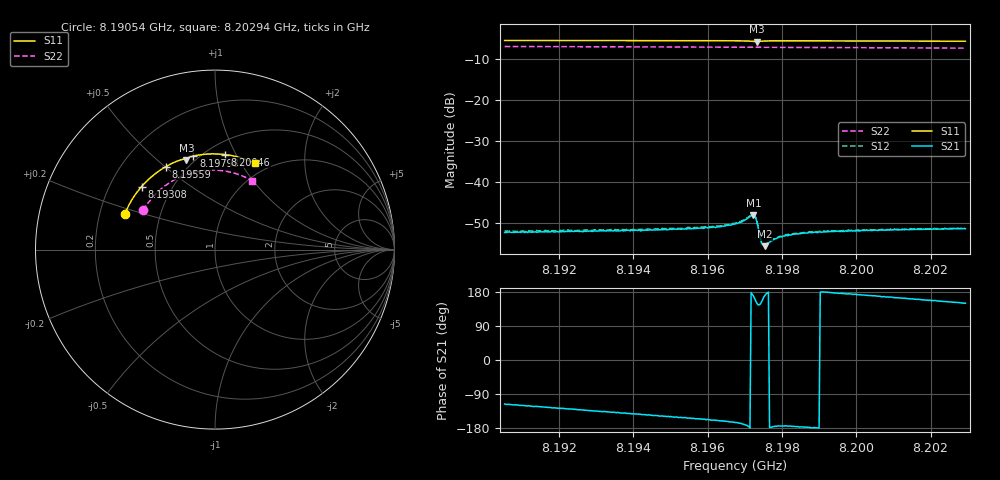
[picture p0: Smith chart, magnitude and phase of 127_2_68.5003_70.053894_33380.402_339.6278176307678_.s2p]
#  HZ  S  RI  R  50.00
! Rohde & Schwarz Vector Network Analyzer
! Rohde-Schwarz,ZNB20-2Port,1311601062101988,3.16
! Created: UTC 3/20/2024, 5:09:21 PM
! freq[Hz]  re:S11  im:S11  re:S21  im:S21  re:S12  im:S12  re:S22  im:S22
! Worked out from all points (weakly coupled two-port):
!   401 points, 8.19054 GHz to 8.20294 GHz, reference 50 ohm
!   highest |S21| = -48.08 dB at 8.19723 GHz (marker M1); lowest = -55.7 dB at 8.19754 GHz (marker M2)
!   lowest |S11| = -5.6 dB at 8.19733 GHz (marker M3), VSWR 3.18, Z = 22.8 + j31.2 ohm
!   |S11| at or under -10 dB: nowhere
!   |S22| runs from -7.2 to -6.8 dB; largest |S21 - S12| = 0.00021
!   S11 on the Smith chart (normalised r, x): 8.19054 GHz: 0.31, +0.17; 8.19308 GHz: 0.34, +0.33; 8.19559 GHz: 0.39, +0.50; 8.19798 GHz: 0.47, +0.68; 8.20046 GHz: 0.61, +0.90; 8.20294 GHz: 0.86, +1.15
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8.190538e9  -0.5024 0.1996  -0.00106 -0.00217  -0.00118 -0.00222  -0.4001 0.2182
8.192615e9  -0.4299 0.3258  -0.00165 -0.00186  -0.00178 -0.00185  -0.3304 0.3103
8.19308e9  -0.4091 0.3511  -0.00179 -0.00177  -0.00189 -0.00176  -0.3116 0.3281
8.194691e9  -0.326 0.4281  -0.00221 -0.0014  -0.0023 -0.00135  -0.2392 0.3815
8.19559e9  -0.2728 0.4629  -0.00243 -0.00119  -0.00248 -0.00111  -0.1944 0.4047
8.196272e9  -0.2295 0.4849  -0.00264 -0.00098  -0.00273 -0.000907  -0.1587 0.4188
8.196737e9  -0.1981 0.4977  -0.00296 -0.000802  -0.00304 -0.000691  -0.1338 0.4265
8.196923e9  -0.1842 0.5018  -0.00318 -0.000667  -0.00331 -0.000571  -0.1234 0.4293
8.197171e9  -0.1638 0.5031  -0.00386 0.000127  -0.00392 0.000309  -0.11 0.4325
8.197233e9  -0.1596 0.5007  -0.00387 0.000774  -0.00391 0.000974  -0.1066 0.4331
8.197295e9  -0.1586 0.4974  -0.00332 0.00148  -0.00328 0.00169  -0.1032 0.4338
8.197326e9  -0.1597 0.4971  -0.00281 0.00164  -0.00279 0.00183  -0.1015 0.4341
8.19745e9  -0.1588 0.5048  -0.0016 0.000811  -0.00163 0.000884  -0.0948 0.4356
8.197512e9  -0.1547 0.5086  -0.00161 0.000383  -0.00166 0.000491  -0.0915 0.4363
8.197543e9  -0.1524 0.51  -0.00162 0.00027  -0.00169 0.000329  -0.0897 0.4366
8.19776e9  -0.136 0.5168  -0.00197 -0.000143  -0.00198 -7.14e-05  -0.0775 0.4385
8.197977e9  -0.1203 0.5211  -0.00212 -0.00023  -0.00216 -0.000144  -0.0652 0.4402
8.198318e9  -0.0958 0.5261  -0.00229 -0.000202  -0.00234 -8.67e-05  -0.0461 0.4421
8.198814e9  -0.0605 0.5309  -0.00241 -3.91e-05  -0.00246 4.84e-05  -0.0179 0.4431
8.200457e9  0.0557 0.5294  -0.00252 0.000468  -0.00254 0.000587  0.075 0.4342
8.200891e9  0.086 0.5251  -0.0025 0.000634  -0.0025 0.000741  0.099 0.4283
8.202937e9  0.2231 0.4801  -0.00232 0.00134  -0.00229 0.0014  0.2071 0.3832
